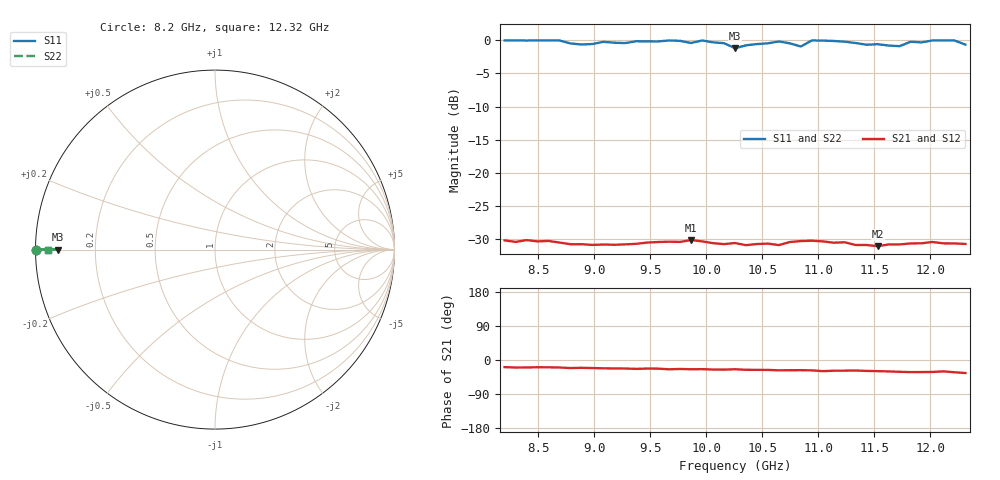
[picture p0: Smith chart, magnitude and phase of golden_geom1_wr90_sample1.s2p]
! Metasurface EMI Automation Touchstone S2P File
! Date: 2026-09-08
! Comment: WR-90 X-Band Measurement
# HZ S RI R 50
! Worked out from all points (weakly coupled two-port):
!   43 points, 8.2 GHz to 12.32 GHz, reference 50 ohm
!   highest |S21| = -30.17 dB at 9.866 GHz (marker M1); lowest = -31.1 dB at 11.53 GHz (marker M2)
!   lowest |S11| = -1.2 dB at 10.26 GHz (marker M3), VSWR 14.75, Z = 3.39 + j0.00171 ohm
!   |S11| at or under -10 dB: nowhere
!   |S22| runs from -1.2 to 0.0 dB; largest |S21 - S12| = 0
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8.2e9  -0.9988 0.000284  0.0292 -0.00997  0.0292 -0.00997  -0.9988 0.000284
8.69e9  -0.9988 0.000531  0.028 -0.0101  0.028 -0.0101  -0.9988 0.000531
8.886e9  -0.9311 0.000415  0.027 -0.0101  0.027 -0.0101  -0.9311 0.000415
9.082e9  -0.9749 0.000176  0.0266 -0.0107  0.0266 -0.0107  -0.9749 0.000176
9.278e9  -0.9542 0.000145  0.0266 -0.011  0.0266 -0.011  -0.9542 0.000145
9.572e9  -0.9822 0.000224  0.0276 -0.0116  0.0276 -0.0116  -0.9822 0.000224
9.768e9  -0.9919 -3.18e-05  0.0275 -0.012  0.0275 -0.012  -0.9919 -3.18e-05
9.866e9  -0.9553 2.41e-05  0.0282 -0.0128  0.0282 -0.0128  -0.9553 2.41e-05
9.964e9  -0.9988 0.000523  0.0277 -0.0124  0.0277 -0.0124  -0.9988 0.000523
1.016e10  -0.9525 0.00034  0.0261 -0.0124  0.0261 -0.0124  -0.9525 0.00034
1.0258e10  -0.873 6.01e-05  0.0268 -0.0122  0.0268 -0.0122  -0.873 6.01e-05
1.065e10  -0.9821 0.000168  0.0252 -0.0131  0.0252 -0.0131  -0.9821 0.000168
1.0846e10  -0.8993 8.93e-06  0.0272 -0.0138  0.0272 -0.0138  -0.8993 8.93e-06
1.0944e10  -0.9988 0.000164  0.0272 -0.0141  0.0272 -0.0141  -0.9988 0.000164
1.1532e10  -0.9358 -2.94e-05  0.0243 -0.0137  0.0243 -0.0137  -0.9358 -2.94e-05
1.163e10  -0.9145 0.000102  0.0248 -0.0144  0.0248 -0.0144  -0.9145 0.000102
1.1728e10  -0.904 0.000354  0.0246 -0.0149  0.0246 -0.0149  -0.904 0.000354
1.1826e10  -0.9764 2.02e-05  0.0248 -0.0155  0.0248 -0.0155  -0.9764 2.02e-05
1.1924e10  -0.9657 0.000326  0.0249 -0.0154  0.0249 -0.0154  -0.9657 0.000326
1.2022e10  -0.9988 0.000321  0.0256 -0.0157  0.0256 -0.0157  -0.9988 0.000321
1.2218e10  -0.9988 0.000131  0.0247 -0.0157  0.0247 -0.0157  -0.9988 0.000131
1.2316e10  -0.9297 0.000178  0.0239 -0.0164  0.0239 -0.0164  -0.9297 0.000178
